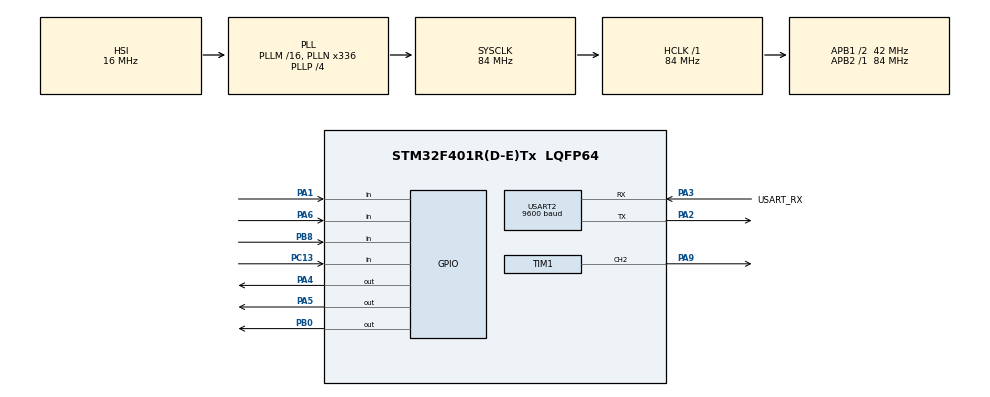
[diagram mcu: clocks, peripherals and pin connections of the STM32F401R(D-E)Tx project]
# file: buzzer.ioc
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Mcu.Family=STM32F4
Mcu.Name=STM32F401R(D-E)Tx
Mcu.Package=LQFP64
NVIC.PriorityGroup=NVIC_PRIORITYGROUP_0
PA1.GPIO_PuPd=GPIO_PULLDOWN
PA1.Signal=GPIO_Input
PA13.GPIO_Label=TMS
PA13.Mode=Serial_Wire
PA13.Signal=SYS_JTMS-SWDIO
PA14.GPIO_Label=TCK
PA14.Mode=Serial_Wire
PA14.Signal=SYS_JTCK-SWCLK
PA2.Mode=Asynchronous
PA2.Signal=USART2_TX
PA3.GPIO_Label=USART_RX
PA3.GPIO_Mode=GPIO_MODE_AF_PP
PA3.GPIO_PuPd=GPIO_NOPULL
PA3.GPIO_Speed=GPIO_SPEED_FREQ_LOW
PA3.Mode=Asynchronous
PA3.Signal=USART2_RX
PA4.Signal=GPIO_Output
PA5.Signal=GPIO_Output
PA6.Signal=GPIO_Input
PA9.Signal=S_TIM1_CH2
PB0.GPIO_PuPd=GPIO_PULLDOWN
PB0.Signal=GPIO_Output
PB3.GPIO_Label=SWO
PB3.Signal=SYS_JTDO-SWO
PB8.GPIO_PuPd=GPIO_PULLDOWN
PB8.Signal=GPIO_Input
PC13-ANTI_TAMP.GPIO_PuPd=GPIO_PULLDOWN
PC13-ANTI_TAMP.Signal=GPIO_Input
PC14-OSC32_IN.Signal=RCC_OSC32_IN
PC15-OSC32_OUT.Signal=RCC_OSC32_OUT
PH0\ -\ OSC_IN.Mode=HSE-External-Oscillator
PH0\ -\ OSC_IN.Signal=RCC_OSC_IN
PH1\ -\ OSC_OUT.Mode=HSE-External-Oscillator
PH1\ -\ OSC_OUT.Signal=RCC_OSC_OUT
ProjectManager.HeapSize=0x200
ProjectManager.StackSize=0x400
ProjectManager.TargetToolchain=STM32CubeIDE
RCC.48MHZClocksFreq_Value=48000000
RCC.AHBFreq_Value=84000000
RCC.APB1CLKDivider=RCC_HCLK_DIV2
RCC.APB1Freq_Value=42000000
RCC.APB1TimFreq_Value=84000000
RCC.APB2Freq_Value=84000000
RCC.APB2TimFreq_Value=84000000
RCC.CortexFreq_Value=84000000
RCC.HCLKFreq_Value=84000000
RCC.HSE_VALUE=8000000
RCC.HSI_VALUE=16000000
RCC.LSE_VALUE=32768
RCC.PLLN=336
RCC.PLLP=RCC_PLLP_DIV4
RCC.PLLQ=7
RCC.SYSCLKFreq_VALUE=84000000
RCC.SYSCLKSource=RCC_SYSCLKSOURCE_PLLCLK
RCC.VCOOutputFreq_Value=336000000
SH.S_TIM1_CH2.0=TIM1_CH2,PWM Generation2 CH2
TIM1.AutoReloadPreload=TIM_AUTORELOAD_PRELOAD_DISABLE
TIM1.Channel-PWM\ Generation2\ CH2=TIM_CHANNEL_2
TIM1.Period=53843
TIM1.Prescaler=2
USART2.BaudRate=9600
USART2.VirtualMode=VM_ASYNC
VP_TIM1_VS_ClockSourceINT.Mode=Internal
board=NUCLEO-F401RE

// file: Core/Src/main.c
/* USER CODE BEGIN Header */
/**
  ******************************************************************************
  * @file           : main.c
  * @brief          : Main program body
  ******************************************************************************
  * @attention
  *
  * Copyright (c) 2024 STMicroelectronics.
  * All rights reserved.
  *
  * This software is licensed under terms that can be found in the LICENSE file
  * in the root directory of this software component.
  * If no LICENSE file comes with this software, it is provided AS-IS.
  *
  ******************************************************************************
  */
/* USER CODE END Header */
#include "main.h"

/* USER CODE BEGIN PD */
// Define the pin for the Hall effect sensor
#define BOARD2_PIN GPIO_PIN_1
#define BOARD2_PORT GPIOA
#define DEBOUNCE_DELAY 50
#define LED_PIN GPIO_PIN_0
#define LED_PORT GPIOB

/* USER CODE END PD */

TIM_HandleTypeDef htim1;

UART_HandleTypeDef huart2;

void SystemClock_Config(void);
static void MX_GPIO_Init(void);
static void MX_TIM1_Init(void);
static void MX_USART2_UART_Init(void);

/* USER CODE BEGIN 0 */
// Variables
uint8_t button_pressed = 0; // Tracks if the button has been pressed
uint8_t led_state = 0;      // Tracks the current state of the LED

void HAL_GPIO_EXTI_Callback(uint16_t GPIO_Pin) {
    if (GPIO_Pin == GPIO_PIN_8) { // Check if the interrupt is from PB8
        HAL_Delay(50); // Simple debouncing (50 ms delay)
        if (HAL_GPIO_ReadPin(GPIOB, GPIO_PIN_8) == GPIO_PIN_SET) {
            button_pressed = 1; // Register the button press
        }
    }
}

void Buzzer_On(uint32_t frequency)
{
    // Set the PWM frequency
    uint32_t timerClock = HAL_RCC_GetPCLK2Freq(); // TIM1 runs on APB2 clock
    uint32_t prescaler = (timerClock / 1000000) - 1; // Scale to 1 MHz
    uint32_t period = 1000000 / frequency - 1; // Calculate period for desired frequency

    htim1.Instance->PSC = prescaler;        // Set prescaler
    htim1.Instance->ARR = period;          // Set auto-reload value
    htim1.Instance->CCR2 = period / 2;     // Set 50% duty cycle for Channel 2

    HAL_TIM_PWM_Start(&htim1, TIM_CHANNEL_2);
}

// Stop PWM

// Stop PWM
void Buzzer_Off(void)
{
    HAL_TIM_PWM_Stop(&htim1, TIM_CHANNEL_2);
}
void Debug_Print(char *message)
{
    HAL_UART_Transmit(&huart2, (uint8_t *)message, strlen(message), 1000);
}

/* USER CODE END 0 */

int main(void)
{

  /* MCU Configuration--------------------------------------------------------*/

  /* Reset of all peripherals, Initializes the Flash interface and the Systick. */
  HAL_Init();

  /* Configure the system clock */
  SystemClock_Config();

  /* Initialize all configured peripherals */
  MX_GPIO_Init();
  MX_TIM1_Init();
  MX_USART2_UART_Init();

  /* Infinite loop */
  /* USER CODE BEGIN WHILE */
  while (1)
    	    {

  				GPIO_PinState currentState;
  				currentState = HAL_GPIO_ReadPin(BOARD2_PORT, BOARD2_PIN);

  							HAL_Delay(DEBOUNCE_DELAY); // Debouncing delay

  						  if (currentState == GPIO_PIN_SET) // Magnet detected
  									 {
  										 // Turn on PA5 on Board 1 (send signal to Board 2)
  										 Buzzer_On(520);
  								  //HAL_GPIO_WritePin(LED_PORT, LED_PIN, GPIO_PIN_SET);
  								  Debug_Print("Magnet Detected: Signal sent to Board 2 (PA5 ON)\n");
  										  //Debug_Print("LED ON");
  										 HAL_Delay(1000);
  									 }
  									 else
  									 {
  										 // No magnet detected
  										 // Turn off PA5 on Board 1
  											Buzzer_Off();
  										 Debug_Print("No Magnet: No signal sent to Board 2 (PA5 OFF)\n");
  										 //HAL_GPIO_WritePin(LED_PORT, LED_PIN, GPIO_PIN_RESET);
  										 //Debug_Print("LED OFF");
  										 HAL_Delay(1000);
  									 }

  						HAL_Delay(100); // Polling interval

    	    }
}
  /* USER CODE END 3 */

void SystemClock_Config(void)
{
  RCC_OscInitTypeDef RCC_OscInitStruct = {0};
  RCC_ClkInitTypeDef RCC_ClkInitStruct = {0};

  /** Configure the main internal regulator output voltage
  */
  __HAL_RCC_PWR_CLK_ENABLE();
  __HAL_PWR_VOLTAGESCALING_CONFIG(PWR_REGULATOR_VOLTAGE_SCALE2);

  /** Initializes the RCC Oscillators according to the specified parameters
  * in the RCC_OscInitTypeDef structure.
  */
  RCC_OscInitStruct.OscillatorType = RCC_OSCILLATORTYPE_HSI;
  RCC_OscInitStruct.HSIState = RCC_HSI_ON;
  RCC_OscInitStruct.HSICalibrationValue = RCC_HSICALIBRATION_DEFAULT;
  RCC_OscInitStruct.PLL.PLLState = RCC_PLL_ON;
  RCC_OscInitStruct.PLL.PLLSource = RCC_PLLSOURCE_HSI;
  RCC_OscInitStruct.PLL.PLLM = 16;
  RCC_OscInitStruct.PLL.PLLN = 336;
  RCC_OscInitStruct.PLL.PLLP = RCC_PLLP_DIV4;
  RCC_OscInitStruct.PLL.PLLQ = 7;
  if (HAL_RCC_OscConfig(&RCC_OscInitStruct) != HAL_OK)
  {
    Error_Handler();
  }

  /** Initializes the CPU, AHB and APB buses clocks
  */
  RCC_ClkInitStruct.ClockType = RCC_CLOCKTYPE_HCLK|RCC_CLOCKTYPE_SYSCLK
                              |RCC_CLOCKTYPE_PCLK1|RCC_CLOCKTYPE_PCLK2;
  RCC_ClkInitStruct.SYSCLKSource = RCC_SYSCLKSOURCE_PLLCLK;
  RCC_ClkInitStruct.AHBCLKDivider = RCC_SYSCLK_DIV1;
  RCC_ClkInitStruct.APB1CLKDivider = RCC_HCLK_DIV2;
  RCC_ClkInitStruct.APB2CLKDivider = RCC_HCLK_DIV1;

  if (HAL_RCC_ClockConfig(&RCC_ClkInitStruct, FLASH_LATENCY_2) != HAL_OK)
  {
    Error_Handler();
  }
}

static void MX_TIM1_Init(void)
{

  TIM_ClockConfigTypeDef sClockSourceConfig = {0};
  TIM_MasterConfigTypeDef sMasterConfig = {0};
  TIM_OC_InitTypeDef sConfigOC = {0};
  TIM_BreakDeadTimeConfigTypeDef sBreakDeadTimeConfig = {0};

  htim1.Instance = TIM1;
  htim1.Init.Prescaler = 2;
  htim1.Init.CounterMode = TIM_COUNTERMODE_UP;
  htim1.Init.Period = 53843;
  htim1.Init.ClockDivision = TIM_CLOCKDIVISION_DIV1;
  htim1.Init.RepetitionCounter = 0;
  htim1.Init.AutoReloadPreload = TIM_AUTORELOAD_PRELOAD_DISABLE;
  if (HAL_TIM_Base_Init(&htim1) != HAL_OK)
  {
    Error_Handler();
  }
  sClockSourceConfig.ClockSource = TIM_CLOCKSOURCE_INTERNAL;
  if (HAL_TIM_ConfigClockSource(&htim1, &sClockSourceConfig) != HAL_OK)
  {
    Error_Handler();
  }
  if (HAL_TIM_PWM_Init(&htim1) != HAL_OK)
  {
    Error_Handler();
  }
  sMasterConfig.MasterOutputTrigger = TIM_TRGO_RESET;
  sMasterConfig.MasterSlaveMode = TIM_MASTERSLAVEMODE_DISABLE;
  if (HAL_TIMEx_MasterConfigSynchronization(&htim1, &sMasterConfig) != HAL_OK)
  {
    Error_Handler();
  }
  sConfigOC.OCMode = TIM_OCMODE_PWM1;
  sConfigOC.Pulse = 0;
  sConfigOC.OCPolarity = TIM_OCPOLARITY_HIGH;
  sConfigOC.OCNPolarity = TIM_OCNPOLARITY_HIGH;
  sConfigOC.OCFastMode = TIM_OCFAST_DISABLE;
  sConfigOC.OCIdleState = TIM_OCIDLESTATE_RESET;
  sConfigOC.OCNIdleState = TIM_OCNIDLESTATE_RESET;
  if (HAL_TIM_PWM_ConfigChannel(&htim1, &sConfigOC, TIM_CHANNEL_2) != HAL_OK)
  {
    Error_Handler();
  }
  sBreakDeadTimeConfig.OffStateRunMode = TIM_OSSR_DISABLE;
  sBreakDeadTimeConfig.OffStateIDLEMode = TIM_OSSI_DISABLE;
  sBreakDeadTimeConfig.LockLevel = TIM_LOCKLEVEL_OFF;
  sBreakDeadTimeConfig.DeadTime = 0;
  sBreakDeadTimeConfig.BreakState = TIM_BREAK_DISABLE;
  sBreakDeadTimeConfig.BreakPolarity = TIM_BREAKPOLARITY_HIGH;
  sBreakDeadTimeConfig.AutomaticOutput = TIM_AUTOMATICOUTPUT_DISABLE;
  if (HAL_TIMEx_ConfigBreakDeadTime(&htim1, &sBreakDeadTimeConfig) != HAL_OK)
  {
    Error_Handler();
  }
  HAL_TIM_MspPostInit(&htim1);

}

static void MX_USART2_UART_Init(void)
{

  huart2.Instance = USART2;
  huart2.Init.BaudRate = 9600;
  huart2.Init.WordLength = UART_WORDLENGTH_8B;
  huart2.Init.StopBits = UART_STOPBITS_1;
  huart2.Init.Parity = UART_PARITY_NONE;
  huart2.Init.Mode = UART_MODE_TX_RX;
  huart2.Init.HwFlowCtl = UART_HWCONTROL_NONE;
  huart2.Init.OverSampling = UART_OVERSAMPLING_16;
  if (HAL_UART_Init(&huart2) != HAL_OK)
  {
    Error_Handler();
  }

}

static void MX_GPIO_Init(void)
{
  GPIO_InitTypeDef GPIO_InitStruct = {0};

  /* GPIO Ports Clock Enable */
  __HAL_RCC_GPIOC_CLK_ENABLE();
  __HAL_RCC_GPIOH_CLK_ENABLE();
  __HAL_RCC_GPIOA_CLK_ENABLE();
  __HAL_RCC_GPIOB_CLK_ENABLE();

  /*Configure GPIO pin Output Level */
  HAL_GPIO_WritePin(GPIOA, GPIO_PIN_4|GPIO_PIN_5, GPIO_PIN_RESET);

  /*Configure GPIO pin Output Level */
  HAL_GPIO_WritePin(GPIOB, GPIO_PIN_0, GPIO_PIN_RESET);

  /*Configure GPIO pin : PC13 */
  GPIO_InitStruct.Pin = GPIO_PIN_13;
  GPIO_InitStruct.Mode = GPIO_MODE_INPUT;
  GPIO_InitStruct.Pull = GPIO_PULLDOWN;
  HAL_GPIO_Init(GPIOC, &GPIO_InitStruct);

  /*Configure GPIO pin : PA1 */
  GPIO_InitStruct.Pin = GPIO_PIN_1;
  GPIO_InitStruct.Mode = GPIO_MODE_INPUT;
  GPIO_InitStruct.Pull = GPIO_PULLDOWN;
  HAL_GPIO_Init(GPIOA, &GPIO_InitStruct);

  /*Configure GPIO pins : PA4 PA5 */
  GPIO_InitStruct.Pin = GPIO_PIN_4|GPIO_PIN_5;
  GPIO_InitStruct.Mode = GPIO_MODE_OUTPUT_PP;
  GPIO_InitStruct.Pull = GPIO_NOPULL;
  GPIO_InitStruct.Speed = GPIO_SPEED_FREQ_LOW;
  HAL_GPIO_Init(GPIOA, &GPIO_InitStruct);

  /*Configure GPIO pin : PA6 */
  GPIO_InitStruct.Pin = GPIO_PIN_6;
  GPIO_InitStruct.Mode = GPIO_MODE_INPUT;
  GPIO_InitStruct.Pull = GPIO_NOPULL;
  HAL_GPIO_Init(GPIOA, &GPIO_InitStruct);

  /*Configure GPIO pin : PB0 */
  GPIO_InitStruct.Pin = GPIO_PIN_0;
  GPIO_InitStruct.Mode = GPIO_MODE_OUTPUT_PP;
  GPIO_InitStruct.Pull = GPIO_PULLDOWN;
  GPIO_InitStruct.Speed = GPIO_SPEED_FREQ_LOW;
  HAL_GPIO_Init(GPIOB, &GPIO_InitStruct);

  /*Configure GPIO pin : PB8 */
  GPIO_InitStruct.Pin = GPIO_PIN_8;
  GPIO_InitStruct.Mode = GPIO_MODE_INPUT;
  GPIO_InitStruct.Pull = GPIO_PULLDOWN;
  HAL_GPIO_Init(GPIOB, &GPIO_InitStruct);

  HAL_NVIC_SetPriority(EXTI9_5_IRQn, 2, 0);
  HAL_NVIC_EnableIRQ(EXTI9_5_IRQn);

}

void Error_Handler(void)
{
  __disable_irq();
  while (1)
  {
  }
}
